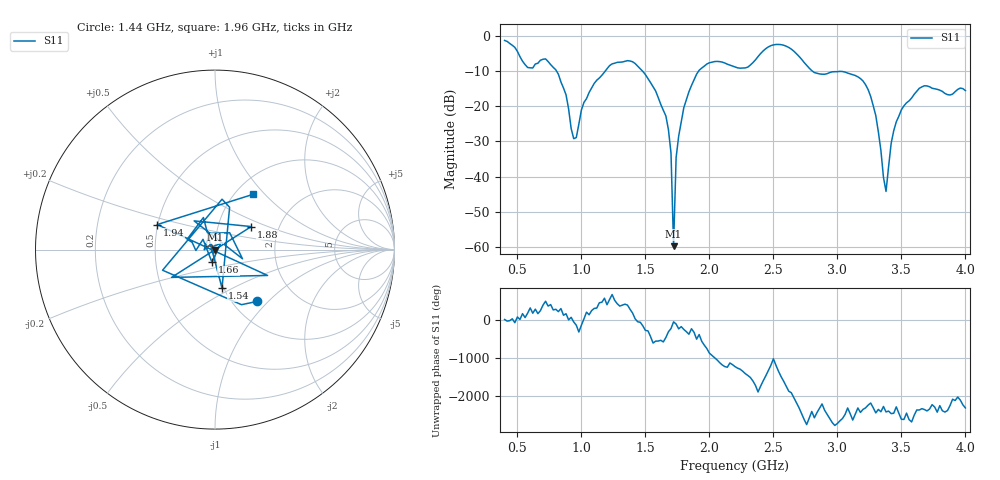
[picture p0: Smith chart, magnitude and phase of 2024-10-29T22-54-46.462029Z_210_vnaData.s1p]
!Created with skrf (http://scikit-rf.org).
# Hz S RI R 50.0
!freq ReS11 ImS11
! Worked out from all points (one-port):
!   181 points, 400 MHz to 4 GHz, reference 50 ohm
!   lowest |S11| = -59.8 dB at 1.72 GHz (marker M1), VSWR 1.00, Z = 50.1 - j0.082 ohm
!   |S11| at or under -10 dB: 806.4 MHz to 1.185 GHz (379 MHz wide, 38.1 % of centre); 1.478 GHz to 1.915 GHz (436.8 MHz wide, 25.7 % of centre); 2.806 GHz to end of sweep
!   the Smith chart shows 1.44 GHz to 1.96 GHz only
!   S11 on the Smith chart (normalised r, x): 1.44 GHz: 1.29, -0.86; 1.54 GHz: 0.98, -0.44; 1.66 GHz: 0.96, -0.14; 1.88 GHz: 1.44, +0.39; 1.94 GHz: 0.50, +0.16; 1.96 GHz: 1.20, +0.86
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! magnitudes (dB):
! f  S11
! 400 MHz  -1.2
! 580 MHz  -8.9
! 720 MHz  -6.5
! 860 MHz  -14.8
! 960 MHz  -28.9
! 1.1 GHz  -13.5
! 1.3 GHz  -7.4
! 1.44 GHz  -8.6
! 1.54 GHz  -13.2
! 1.66 GHz  -22.7
! 1.7 GHz  -33.3
! 1.72 GHz  -59.8
! 1.74 GHz  -34.6
! 1.76 GHz  -28.5
! 1.88 GHz  -12.4
! 1.94 GHz  -9.1
! 1.96 GHz  -8.6
! 2.2 GHz  -8.8
! 2.66 GHz  -4.3
! 2.82 GHz  -10.4
! 3.1 GHz  -10.8
! 3.26 GHz  -17.2
! 3.3 GHz  -22.6
! 3.38 GHz  -44.2
! 3.44 GHz  -27.0
! 3.56 GHz  -18.4
! 3.68 GHz  -14.1
! 4 GHz  -15.5
